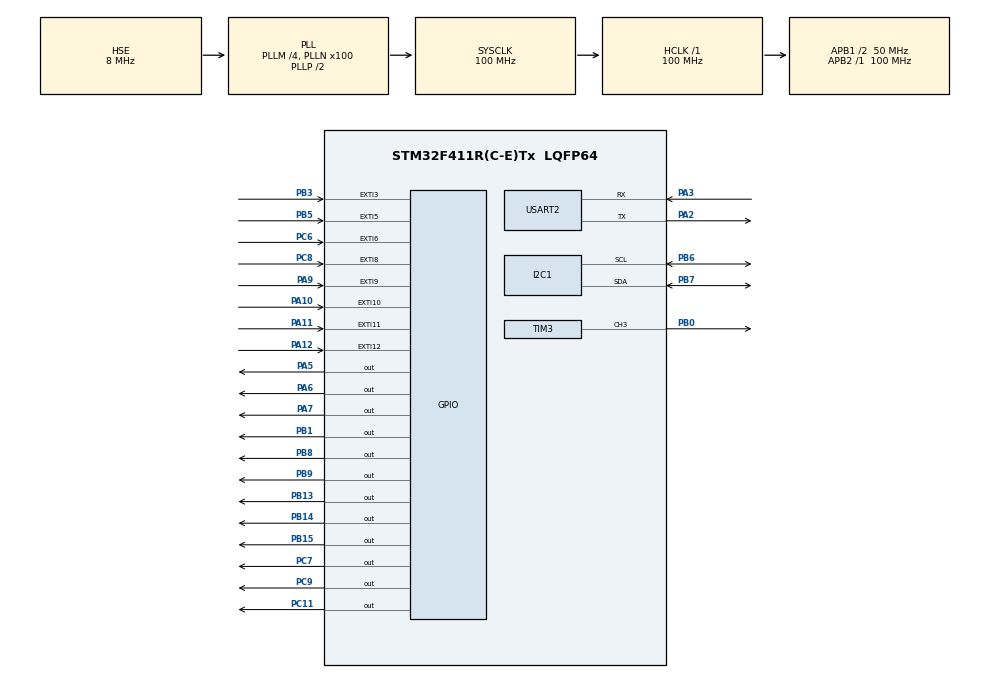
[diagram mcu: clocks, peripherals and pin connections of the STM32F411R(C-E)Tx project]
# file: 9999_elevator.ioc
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Mcu.Family=STM32F4
Mcu.Name=STM32F411R(C-E)Tx
Mcu.Package=LQFP64
NVIC.EXTI15_10_IRQn=true\:0\:0\:false\:false\:true\:true\:true\:true
NVIC.EXTI3_IRQn=true\:0\:0\:false\:false\:true\:true\:true\:true
NVIC.EXTI9_5_IRQn=true\:0\:0\:false\:false\:true\:true\:true\:true
NVIC.PriorityGroup=NVIC_PRIORITYGROUP_4
NVIC.USART2_IRQn=true\:0\:0\:false\:false\:true\:true\:true\:true
PA10.Signal=GPXTI10
PA11.Signal=GPXTI11
PA12.Signal=GPXTI12
PA13.Mode=Serial_Wire
PA13.Signal=SYS_JTMS-SWDIO
PA14.Mode=Serial_Wire
PA14.Signal=SYS_JTCK-SWCLK
PA2.Mode=Asynchronous
PA2.Signal=USART2_TX
PA3.Mode=Asynchronous
PA3.Signal=USART2_RX
PA5.Signal=GPIO_Output
PA6.Signal=GPIO_Output
PA7.PinState=GPIO_PIN_RESET
PA7.Signal=GPIO_Output
PA9.Signal=GPXTI9
PB0.Signal=S_TIM3_CH3
PB1.GPIO_Speed=GPIO_SPEED_FREQ_HIGH
PB1.Signal=GPIO_Output
PB13.GPIO_Speed=GPIO_SPEED_FREQ_HIGH
PB13.Signal=GPIO_Output
PB14.GPIO_Speed=GPIO_SPEED_FREQ_HIGH
PB14.Signal=GPIO_Output
PB15.GPIO_Speed=GPIO_SPEED_FREQ_HIGH
PB15.Signal=GPIO_Output
PB3.Signal=GPXTI3
PB5.Signal=GPXTI5
PB6.Mode=I2C
PB6.Signal=I2C1_SCL
PB7.Mode=I2C
PB7.Signal=I2C1_SDA
PB8.PinState=GPIO_PIN_RESET
PB8.Signal=GPIO_Output
PB9.PinState=GPIO_PIN_RESET
PB9.Signal=GPIO_Output
PC11.Signal=GPIO_Output
PC6.GPIO_PuPd=GPIO_NOPULL
PC6.Signal=GPXTI6
PC7.PinState=GPIO_PIN_RESET
PC7.Signal=GPIO_Output
PC8.Signal=GPXTI8
PC9.PinState=GPIO_PIN_RESET
PC9.Signal=GPIO_Output
PH0\ -\ OSC_IN.Mode=HSE-External-Oscillator
PH0\ -\ OSC_IN.Signal=RCC_OSC_IN
PH1\ -\ OSC_OUT.Mode=HSE-External-Oscillator
PH1\ -\ OSC_OUT.Signal=RCC_OSC_OUT
ProjectManager.HeapSize=0x200
ProjectManager.StackSize=0x400
ProjectManager.TargetToolchain=STM32CubeIDE
RCC.48MHZClocksFreq_Value=50000000
RCC.AHBFreq_Value=100000000
RCC.APB1CLKDivider=RCC_HCLK_DIV2
RCC.APB1Freq_Value=50000000
RCC.APB1TimFreq_Value=100000000
RCC.APB2Freq_Value=100000000
RCC.APB2TimFreq_Value=100000000
RCC.CortexFreq_Value=100000000
RCC.HCLKFreq_Value=100000000
RCC.HSE_VALUE=8000000
RCC.HSI_VALUE=16000000
RCC.LSE_VALUE=32768
RCC.PLLM=4
RCC.PLLN=100
RCC.PLLSourceVirtual=RCC_PLLSOURCE_HSE
RCC.SYSCLKFreq_VALUE=100000000
RCC.SYSCLKSource=RCC_SYSCLKSOURCE_PLLCLK
RCC.VCOOutputFreq_Value=200000000
SH.S_TIM3_CH3.0=TIM3_CH3,PWM Generation3 CH3
TIM11.Prescaler=100-1
TIM3.Channel-PWM\ Generation3\ CH3=TIM_CHANNEL_3
TIM3.Period=1000-1
TIM3.Prescaler=2000-1
USART2.VirtualMode=VM_ASYNC
VP_TIM11_VS_ClockSourceINT.Mode=Enable_Timer
VP_TIM3_VS_ClockSourceINT.Mode=Internal
board=custom

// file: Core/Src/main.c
/* USER CODE BEGIN Header */
/**
 ******************************************************************************
 * @file           : main.c
 * @brief          : Main program body
 ******************************************************************************
 * @attention
 *
 * Copyright (c) 2025 STMicroelectronics.
 * All rights reserved.
 *
 * This software is licensed under terms that can be found in the LICENSE file
 * in the root directory of this software component.
 * If no LICENSE file comes with this software, it is provided AS-IS.
 *
 ******************************************************************************
 */
/* USER CODE END Header */
#include "main.h"
#include "i2c.h"
#include "tim.h"
#include "usart.h"
#include "gpio.h"

/* USER CODE BEGIN Includes */

#include "main.h"
#include "i2c.h"
#include "tim.h"
#include "usart.h"
#include "gpio.h"
#include "step.h"
#include "lcd.h"
#include "delay_us.h"
#include "fnd.h"
#include "stdbool.h"

/* USER CODE END Includes */

void SystemClock_Config(void);
/* USER CODE BEGIN PFP */

//
#define DEBOUNCE_DEREY 10

//

enum ELEVATOR_STATE
{
  ELEVATOR_STATE_INIT,    // 엘리베이터 초기화 상태
  ELEVATOR_STATE_MOVING,  // 엘리베이터 이동 중 상태
  ELEVATOR_STATE_STOP     // 엘리베이터 정지 상태
};
enum ELEVATOR_STATE         current_elevator_state;

#define ELEVATOR_STATE_ACTION_START 0    // 상태 진입 시 최초 1회 실행되는 동작
#define ELEVATOR_STATE_ACTION_PROGRESS 1 // 상태 내에서 반복 실행되는 동작
uint16_t  current_elevator_state_action;

#define MOVE_STATE_UP     0
#define MOVE_STATE_DOWN   1
uint16_t current_move_state;

// [Received input Event]
// #1.Photo Event : 1F( [PA10] : GPIO_PIN_10) , 2F([PB3] : GPIO_PIN_3), 3F([PB5] : GPIO_PIN_5)
#define FLOOR_PIN_1F          GPIO_PIN_10
#define FLOOR_PIN_2F          GPIO_PIN_3
#define FLOOR_PIN_3F          GPIO_PIN_5
uint16_t current_floor;

// #2.Button Event : 1F( [PC6] : GPIO_PIN_8), 2F( [PC8] GPIO_PIN_6), 3F( [PA9] : GPIO_PIN_9)
//    ==> ? Toggle On 상태 정보 기억
#define BUTTON_PIN_1F          GPIO_PIN_8
#define BUTTON_PIN_2F          GPIO_PIN_6
#define BUTTON_PIN_3F          GPIO_PIN_9

#define BUTTON_TOOGLE_ON      1
#define BUTTON_TOOGLE_OFF     0

uint16_t button_1f_toogle = BUTTON_TOOGLE_OFF;
uint16_t button_2f_toogle = BUTTON_TOOGLE_OFF;
uint16_t button_3f_toogle = BUTTON_TOOGLE_OFF;

// #3.Door open/close : Open ([PA12] GPIO_PIN_12), Close ( [PA11] GPIO_PIN_11)
#define DOOR_PIN_OPEN          GPIO_PIN_12
#define DOOR_PIN_CLOSE         GPIO_PIN_11

#define OPEN_CLOSE_DELAY_MS 3000
uint32_t doorCloseTicTime = 0;
//return HAL_GetTick();

//uint32_t millis() //뭔지 모르지만 32비트형 데이터를  반환
//{
//  return HAL_GetTick();
//}

// #1.Photo Event : 1F(GPIO_PIN_10), 2F(GPIO_PIN_3), 3F(GPIO_PIN_5)
void gpio_pin_uart_log(uint16_t GPIO_Pin)
{
  if(GPIO_Pin == GPIO_PIN_12){
    uint8_t logText[] = "GPIO_PIN_12 Open \n";
    HAL_UART_Transmit(&huart2, logText, sizeof(logText), 100);
  }

  if(GPIO_Pin == GPIO_PIN_11){
    uint8_t logText[] = "GPIO_PIN_11 Close \n";
    HAL_UART_Transmit(&huart2, logText, sizeof(logText), 100);
  }

  if(GPIO_Pin == GPIO_PIN_10){
    uint8_t logText[] = "GPIO_PIN_10\n";
    HAL_UART_Transmit(&huart2, logText, sizeof(logText), 100);
  }

  if(GPIO_Pin == GPIO_PIN_3){
    uint8_t logText[] = "GPIO_PIN_3\n";
    HAL_UART_Transmit(&huart2, logText, sizeof(logText), 100);
  }

  if(GPIO_Pin == GPIO_PIN_5){
    uint8_t logText[] = "GPIO_PIN_5\n";
    HAL_UART_Transmit(&huart2, logText, sizeof(logText), 100);
  }

  if(GPIO_Pin == GPIO_PIN_8){
    uint8_t logText[] = "GPIO_PIN_8\n";
    HAL_UART_Transmit(&huart2, logText, sizeof(logText), 100);
  }

  if(GPIO_Pin == GPIO_PIN_6){
    uint8_t logText[] = "GPIO_PIN_6 \n";
    HAL_UART_Transmit(&huart2, logText, sizeof(logText), 100);
  }

  if(GPIO_Pin == GPIO_PIN_9){
    uint8_t logText[] = "GPIO_PIN_9\n";
    HAL_UART_Transmit(&huart2, logText, sizeof(logText), 100);
  }

}

// 현재 설정값에 따라 엘리베이터 이동 함수
void moving_elevator()
{
  if (current_move_state == MOVE_STATE_DOWN)
  {
    rotateDegrees(50, DIR_CW);
  }
  else if(current_move_state == MOVE_STATE_UP){
    rotateDegrees(50, DIR_CCW);
  }
}

bool skip_check_debounce_button(uint16_t GPIO_Pin)
{
  bool isRetSkip = false;
  //----  버튼 --------------------------------------------------
  //1F( [PC6] : GPIO_PIN_8) skip
  if (GPIO_Pin == GPIO_PIN_8) {
    GPIO_PinState buttonState = HAL_GPIO_ReadPin(GPIOC, GPIO_PIN_8); //1F
    if (GPIO_PIN_SET == buttonState) {
      uint8_t logText[] = "#1F Button Press : GPIO_PIN_SET \n";
      HAL_UART_Transmit(&huart2, logText, sizeof(logText), 100);

      if (button_1f_toogle == BUTTON_TOOGLE_ON){
        button_1f_toogle = BUTTON_TOOGLE_OFF;
      }else{
        button_1f_toogle = BUTTON_TOOGLE_ON;
      }

    } else {
      uint8_t logText[] = "#---- 1F Button Press skip :  \n";
      HAL_UART_Transmit(&huart2, logText, sizeof(logText), 100);
      //return;
      isRetSkip = true;
    }
  }

  // 2F( [PC8] GPIO_PIN_6)
  if (GPIO_Pin == GPIO_PIN_6) {
    GPIO_PinState buttonState = HAL_GPIO_ReadPin(GPIOC, GPIO_PIN_6); //2F
    if (GPIO_PIN_SET == buttonState) {
      uint8_t logText[] = "#2F Button Press : GPIO_PIN_SET \n";
      HAL_UART_Transmit(&huart2, logText, sizeof(logText), 100);

      if (button_2f_toogle == BUTTON_TOOGLE_ON){
        button_2f_toogle = BUTTON_TOOGLE_OFF;
      }else{
        button_2f_toogle = BUTTON_TOOGLE_ON;
      }

    } else {
      uint8_t logText[] = "#---- 2F Button Press skip :  \n";
      HAL_UART_Transmit(&huart2, logText, sizeof(logText), 100);
      //return;
      isRetSkip = true;
    }
  }

  //3F( [PA9] : GPIO_PIN_9)
  if (GPIO_Pin == GPIO_PIN_9) {
    GPIO_PinState buttonState = HAL_GPIO_ReadPin(GPIOA, GPIO_PIN_9); //2F
    if (GPIO_PIN_SET == buttonState) {
      uint8_t logText[] = "#3F Button Press : GPIO_PIN_SET \n";
      HAL_UART_Transmit(&huart2, logText, sizeof(logText), 100);

      if (button_3f_toogle == BUTTON_TOOGLE_ON){
        button_3f_toogle = BUTTON_TOOGLE_OFF;
      }else{
        button_3f_toogle = BUTTON_TOOGLE_ON;
      }

    } else {
      uint8_t logText[] = "#---- 3F Button Press skip :  \n";
      HAL_UART_Transmit(&huart2, logText, sizeof(logText), 100);
      //return;
      isRetSkip = true;
    }
  }

  return isRetSkip;
}

void fndOutPut()
{
  if (current_floor == FLOOR_PIN_1F){
    moveCursor(0, 0);
    lcdString("1F");
    moveCursor(1, 0);
    lcdString("B--");

    ledOff(7);
    ledOne();
  }
  else if (current_floor == FLOOR_PIN_2F){
    moveCursor(0, 0);
    lcdString("2F");
    moveCursor(1, 0);
    lcdString("B--");

    ledOff(7);
    ledTwo();

  }
  else if (current_floor == FLOOR_PIN_3F){
    moveCursor(0, 0);
    lcdString("3F");
    moveCursor(1, 0);
    lcdString("B--");

    ledOff(7);
    ledThree();

  }
}

// [Received input Event]
// #1.Photo Event : 1F( [PA10] : GPIO_PIN_10) , 2F([PB3] : GPIO_PIN_3), 3F([PB5] : GPIO_PIN_5)
//    ==> ? 확인
// #2.Button Event : 1F( [PC6] : GPIO_PIN_8), 2F( [PC8] GPIO_PIN_6), 3F( [PA9] : GPIO_PIN_9)
//    ==> ? Toggle On 상태 정보 기억
// #3.Door open/close : Open ([PA12] GPIO_PIN_12), Close ( [PA11] GPIO_PIN_11)

void HAL_GPIO_EXTI_Callback(uint16_t GPIO_Pin)
{
  if (skip_check_debounce_button(GPIO_Pin)){
    return;
  }

  gpio_pin_uart_log(GPIO_Pin);

  if(current_elevator_state == ELEVATOR_STATE_INIT)
  {
    // NOTICE: ELEVATOR_STATE_INIT 상태에서 Photo Pin 정보를 체크
    // Photo Pin 정보 수신 시 ELEVATOR 정지시킴 (ELEVATOR_STATE_STOP)
    bool is_elevator_stop_transition_allowed = (GPIO_Pin == FLOOR_PIN_1F);
    if(is_elevator_stop_transition_allowed)
    {
      current_elevator_state = ELEVATOR_STATE_STOP;
      current_elevator_state_action = ELEVATOR_STATE_ACTION_START;
      current_floor = FLOOR_PIN_1F;
    }
  }
  else if (current_elevator_state == ELEVATOR_STATE_STOP)
  {
    // 버튼 이밴트 [ELEVATOR_STATE_STOP 현재 상태에 따른 이동]
    // 정지 상태에서는  Button 과 door event 만처리한다.

    // TODO : door event 추가 필요함.
    bool isDoorFinCheck = (GPIO_Pin == DOOR_PIN_OPEN) || (GPIO_Pin == DOOR_PIN_CLOSE);
    if (isDoorFinCheck){
      const uint32_t ccr3_val = TIM3->CCR3;

      if (GPIO_Pin == DOOR_PIN_OPEN && ccr3_val != 25){
        doorCloseTicTime = HAL_GetTick() + OPEN_CLOSE_DELAY_MS;
        TIM3->CCR3 = 25;  // 125
      }
      else if (GPIO_Pin == DOOR_PIN_CLOSE && ccr3_val != 125){
        //isDoorInfoOutputFlag = true;
        TIM3->CCR3 = 125; // 125
        doorCloseTicTime = 0;
      }

      //isDoorPinFlag = true;
      return;
    }

    bool isValidFinCheck = (GPIO_Pin == BUTTON_PIN_1F) ||  (GPIO_Pin == BUTTON_PIN_2F) || (GPIO_Pin == BUTTON_PIN_3F);
    if (!isValidFinCheck){
      uint8_t logText[] = "#---- skip ELEVATOR_STATE_STOP is only button and door event :  \n";
      HAL_UART_Transmit(&huart2, logText, sizeof(logText), 100);
      return;
    }

    {// Step 1. 현재 1층  정지 상태에서 버튼이 눌린 경우
      bool check1FButtonAction = (current_floor == FLOOR_PIN_1F) && isValidFinCheck;
      if (check1FButtonAction){
        if (GPIO_Pin == BUTTON_PIN_1F) {
          button_1f_toogle = BUTTON_TOOGLE_OFF;
        }else{ //(GPIO_Pin == BUTTON_PIN_2F) || (GPIO_Pin == BUTTON_PIN_1F)
          if((button_2f_toogle == BUTTON_TOOGLE_ON) || (button_3f_toogle == BUTTON_TOOGLE_ON)) {
            current_elevator_state = ELEVATOR_STATE_MOVING;
            current_move_state = MOVE_STATE_UP;
            current_elevator_state_action = ELEVATOR_STATE_ACTION_START;
          }
        }
      }
    }

    {// Step 2. 현재 2층  정지 상태에서 버튼이 눌린 경우
      bool check2FButtonAction = (current_floor == FLOOR_PIN_2F) && isValidFinCheck;
      if (check2FButtonAction){
        if (GPIO_Pin == BUTTON_PIN_2F) {
          button_2f_toogle = BUTTON_TOOGLE_OFF;
        }
        else if (GPIO_Pin == BUTTON_PIN_3F && button_3f_toogle == BUTTON_TOOGLE_ON)
        {
          current_elevator_state = ELEVATOR_STATE_MOVING;
          current_move_state = MOVE_STATE_UP;
          current_elevator_state_action = ELEVATOR_STATE_ACTION_START;
        }
        else if(GPIO_Pin == BUTTON_PIN_1F && button_1f_toogle == BUTTON_TOOGLE_ON){
          current_elevator_state = ELEVATOR_STATE_MOVING;
          current_move_state = MOVE_STATE_DOWN;
          current_elevator_state_action = ELEVATOR_STATE_ACTION_START;
        }
      }
    }

    {// Step 3. 현재 3층  정지 상태에서 버튼이 눌린 경우
      bool check3FButtonAction = (current_floor == FLOOR_PIN_3F) && isValidFinCheck;
      if (check3FButtonAction)
      {
        if (GPIO_Pin == BUTTON_PIN_3F) {
          button_3f_toogle = BUTTON_TOOGLE_OFF;
        } else { //(GPIO_Pin == BUTTON_PIN_2F) || (GPIO_Pin == BUTTON_PIN_1F)
          if((button_1f_toogle == BUTTON_TOOGLE_ON) || (button_2f_toogle == BUTTON_TOOGLE_ON)) {
            current_elevator_state = ELEVATOR_STATE_MOVING;
            current_move_state = MOVE_STATE_DOWN;
            current_elevator_state_action = ELEVATOR_STATE_ACTION_START;
          }
        }
      }
    }
  }
  else if (current_elevator_state == ELEVATOR_STATE_MOVING)
  {
    // [TODO]: 종료 조건에 버튼상태까지 확인하는 코드 추가 필요함.....
    // [ELEVATOR_STATE_MOVING 현재 상태에 따른 이동]
    bool is_elevator_stop_transition_allowed = (GPIO_Pin == FLOOR_PIN_1F) | (GPIO_Pin == FLOOR_PIN_2F) | (GPIO_Pin == FLOOR_PIN_3F);
    if(is_elevator_stop_transition_allowed)
    {
      bool is1F_checked = (GPIO_Pin == FLOOR_PIN_1F) /*&& (button_1f_toogle == BUTTON_TOOGLE_ON)*/;
      bool is2F_checked = (GPIO_Pin == FLOOR_PIN_2F) /*&& (button_2f_toogle == BUTTON_TOOGLE_ON)*/;
      bool is3F_checked = (GPIO_Pin == FLOOR_PIN_3F) /*&& (button_3f_toogle == BUTTON_TOOGLE_ON)*/;

      if (is1F_checked)
      {
        current_elevator_state = ELEVATOR_STATE_STOP;
        current_elevator_state_action = ELEVATOR_STATE_ACTION_START;
        current_floor = GPIO_Pin;
        button_1f_toogle = BUTTON_TOOGLE_OFF;
      }
      else if (is2F_checked )
      {
        current_floor = GPIO_Pin;

        if (button_2f_toogle == BUTTON_TOOGLE_ON){
          current_elevator_state = ELEVATOR_STATE_STOP;
          current_elevator_state_action = ELEVATOR_STATE_ACTION_START;
          button_2f_toogle = BUTTON_TOOGLE_OFF;
        } else {
          current_elevator_state_action = ELEVATOR_STATE_ACTION_START;
        }

      }
      else if (is3F_checked)
      {
        current_elevator_state = ELEVATOR_STATE_STOP;
        current_elevator_state_action = ELEVATOR_STATE_ACTION_START;
        current_floor = GPIO_Pin;
        button_3f_toogle = BUTTON_TOOGLE_OFF;
      }
    }
  }
}

/* USER CODE END PFP */

int main(void)
{

  /* MCU Configuration--------------------------------------------------------*/

  /* Reset of all peripherals, Initializes the Flash interface and the Systick. */
  HAL_Init();

  /* Configure the system clock */
  SystemClock_Config();

  /* Initialize all configured peripherals */
  MX_GPIO_Init();
  MX_I2C1_Init();
  MX_USART2_UART_Init();
  MX_TIM3_Init();
  MX_TIM11_Init();
  /* USER CODE BEGIN 2 */

  HAL_TIM_Base_Start(&htim11);

  //  uint32_t lastDebounceTime = 0;
  //  GPIO_PinState lastButtonState = GPIO_PIN_SET;

  HAL_TIM_PWM_Start(&htim3,TIM_CHANNEL_3);
  TIM3->CCR3 = 125; // 125

  i2cLcd_Init();

  { /* 초기 설정값 넣기 */
    // 현재 동작 시작상태
    current_elevator_state = ELEVATOR_STATE_INIT;
    current_elevator_state_action = ELEVATOR_STATE_ACTION_START;

    // 앨리베이터 위치
    current_floor = FLOOR_PIN_1F;
  }

  /* USER CODE END 2 */

  /* Infinite loop */
  /* USER CODE BEGIN WHILE */
  while (1)
  {
    // check 루틴 순서..
    // 1. current_elevator_state -->
    // NOTICE: [ELEVATOR_STATE_INIT -->  ELEVATOR_STATE_STOP <--> ELEVATOR_STATE_MOVING]
    // 상태가 변경 되면 이 상태안에서
    //   1. ELEVATOR_STATE_ACTION_START(1회)
    //   2. ELEVATOR_STATE_ACTION_PROGRESS (N회)
    // 순으로 loop 실행.

    // NOTICE : current_elevator_state 상태는 HAL_GPIO_EXTI_Callback 함수에서만 변경하세요.

    if (current_elevator_state == ELEVATOR_STATE_INIT)
    {
      switch (current_elevator_state_action)
      {
        case ELEVATOR_STATE_ACTION_START:
          // NOTICE: INIT 상태에서 ONE Time 실행 되어야 되는 경우 여기서 처리
          // (예) LCD 출력 등 //
          // LCD 출력 문구 ....

//          moveCursor(0, 0);
//          lcdString("A");
//          moveCursor(1, 0);
//          lcdString("B");

          // 엘리베이터 방향 지정
          current_move_state = MOVE_STATE_DOWN;

          // ELEVATOR_STATE_ACTION_PROGRESS 상태로 이동
          current_elevator_state_action = ELEVATOR_STATE_ACTION_PROGRESS;
          break;

        case ELEVATOR_STATE_ACTION_PROGRESS:
          // 엘리베이터를 이동 함수호출
          moving_elevator();
          break;
      }
    }
    else if(current_elevator_state == ELEVATOR_STATE_STOP)
    {
      switch (current_elevator_state_action)
      {
        case ELEVATOR_STATE_ACTION_START:
          // NOTICE: INIT 상태에서 ONE Time 실행 되어야 되는 경우 여기서 처리 (예) LCD 출력 등 //
          // (예) 도어 오픈 - 클로즈 명령 //

          fndOutPut();

          // door open
          doorCloseTicTime = HAL_GetTick() + OPEN_CLOSE_DELAY_MS;
          TIM3->CCR3 = 25;  // 125

          // 엘리베이터 상하 이동을 위해 상태변경
          current_elevator_state_action = ELEVATOR_STATE_ACTION_PROGRESS;
          break;

        case ELEVATOR_STATE_ACTION_PROGRESS:
          // door open closed 서보 모터 동작 처리
         {
           const uint32_t ticTime = HAL_GetTick();
           if(doorCloseTicTime != 0 && ticTime > doorCloseTicTime){
             // dore
             TIM3->CCR3 = 125; // 125
             doorCloseTicTime = 0;
           }
         }

          break;
      }
    }
    else if(current_elevator_state == ELEVATOR_STATE_MOVING)
    {
      switch (current_elevator_state_action)
      {
        case ELEVATOR_STATE_ACTION_START:
          // 상태 변경 진입 시 한번만 호출
          fndOutPut();

          current_elevator_state_action = ELEVATOR_STATE_ACTION_PROGRESS;
        break;

        case ELEVATOR_STATE_ACTION_PROGRESS:
          // 엘리베이터를 이동 함수호출
          moving_elevator();
          break;
      }
    }

    /* USER CODE END WHILE */

  }
}

void SystemClock_Config(void)
{
  RCC_OscInitTypeDef RCC_OscInitStruct = {0};
  RCC_ClkInitTypeDef RCC_ClkInitStruct = {0};

  /** Configure the main internal regulator output voltage
  */
  __HAL_RCC_PWR_CLK_ENABLE();
  __HAL_PWR_VOLTAGESCALING_CONFIG(PWR_REGULATOR_VOLTAGE_SCALE1);

  /** Initializes the RCC Oscillators according to the specified parameters
  * in the RCC_OscInitTypeDef structure.
  */
  RCC_OscInitStruct.OscillatorType = RCC_OSCILLATORTYPE_HSE;
  RCC_OscInitStruct.HSEState = RCC_HSE_ON;
  RCC_OscInitStruct.PLL.PLLState = RCC_PLL_ON;
  RCC_OscInitStruct.PLL.PLLSource = RCC_PLLSOURCE_HSE;
  RCC_OscInitStruct.PLL.PLLM = 4;
  RCC_OscInitStruct.PLL.PLLN = 100;
  RCC_OscInitStruct.PLL.PLLP = RCC_PLLP_DIV2;
  RCC_OscInitStruct.PLL.PLLQ = 4;
  if (HAL_RCC_OscConfig(&RCC_OscInitStruct) != HAL_OK)
  {
    Error_Handler();
  }

  /** Initializes the CPU, AHB and APB buses clocks
  */
  RCC_ClkInitStruct.ClockType = RCC_CLOCKTYPE_HCLK|RCC_CLOCKTYPE_SYSCLK
                              |RCC_CLOCKTYPE_PCLK1|RCC_CLOCKTYPE_PCLK2;
  RCC_ClkInitStruct.SYSCLKSource = RCC_SYSCLKSOURCE_PLLCLK;
  RCC_ClkInitStruct.AHBCLKDivider = RCC_SYSCLK_DIV1;
  RCC_ClkInitStruct.APB1CLKDivider = RCC_HCLK_DIV2;
  RCC_ClkInitStruct.APB2CLKDivider = RCC_HCLK_DIV1;

  if (HAL_RCC_ClockConfig(&RCC_ClkInitStruct, FLASH_LATENCY_3) != HAL_OK)
  {
    Error_Handler();
  }
}

void Error_Handler(void)
{
  __disable_irq();
  while (1)
  {
  }
}
